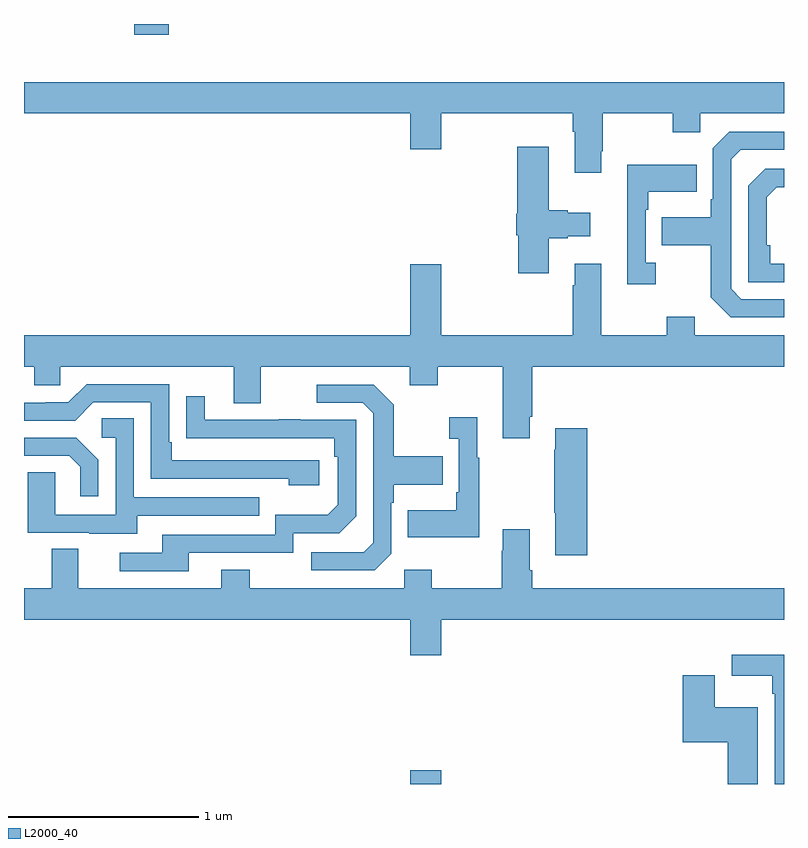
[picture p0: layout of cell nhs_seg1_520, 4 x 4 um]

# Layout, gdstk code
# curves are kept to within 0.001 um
import gdstk
lib = gdstk.Library(unit=1e-6, precision=1e-09)
def R(c, l, rs):  # rectangles x0, y0, x1, y1
    for r in rs: c.add(gdstk.rectangle(r[:2], r[2:], *l))
def P(c, l, *ps):  # polygons
    for p in ps: c.add(gdstk.Polygon(p, *l))
L2000_40 = (2000, 40)

nhs_seg1_520 = lib.new_cell('nhs_seg1_520')
R(nhs_seg1_520, L2000_40, [(141.032,552.199,141.196,552.271), (139.58,556.143,139.763,556.199)])
P(nhs_seg1_520, L2000_40, [(142.039,555.529),(142.047,555.529),(142.047,555.728),(142.414,555.728),(142.414,555.629),(142.56,555.629),(142.56,555.728),(143,555.728),(143,555.892),(139,555.892),(139,555.728),(141.032,555.728),(141.032,555.54),(141.196,555.54),(141.196,555.728),(141.887,555.728),(141.887,555.632),(141.899,555.632),(141.899,555.417),(142.039,555.417)],
  [(143,554.751),(142.776,554.751),(142.722,554.805),(142.722,555.486),(142.773,555.537),(143,555.537),(143,555.633),(142.713,555.633),(142.626,555.546),(142.626,555.277),(142.614,555.277),(142.614,555.181),(142.357,555.181),(142.357,555.034),(142.614,555.034),(142.614,554.761),(142.719,554.655),(143,554.655)],
  [(141.763,555.071),(141.863,555.071),(141.863,555.083),(141.979,555.083),(141.979,555.205),(141.863,555.205),(141.863,555.218),(141.763,555.218),(141.763,555.553),(141.596,555.553),(141.596,555.201),(141.59,555.201),(141.59,555.087),(141.601,555.087),(141.601,554.886),(141.763,554.886)],
  [(142.324,554.942),(142.272,554.942),(142.272,555.221),(142.285,555.221),(142.285,555.317),(142.541,555.317),(142.541,555.457),(142.175,555.457),(142.175,554.829),(142.324,554.829)],
  [(143,554.937),(142.928,554.937),(142.928,555.034),(142.908,555.034),(142.908,555.288),(142.961,555.341),(143,555.341),(143,555.438),(142.902,555.438),(142.812,555.348),(142.812,554.841),(143,554.841)],
  [(141.661,554.131),(141.674,554.131),(141.674,554.396),(143,554.396),(143,554.56),(142.531,554.56),(142.531,554.659),(142.384,554.659),(142.384,554.56),(142.039,554.56),(142.039,554.938),(141.899,554.938),(141.899,554.825),(141.887,554.825),(141.887,554.56),(141.196,554.56),(141.196,554.935),(141.032,554.935),(141.032,554.56),(139,554.56),(139,554.396),(139.053,554.396),(139.053,554.298),(139.191,554.298),(139.191,554.396),(140.105,554.396),(140.105,554.202),(140.245,554.202),(140.245,554.396),(141.029,554.396),(141.029,554.297),(141.177,554.297),(141.177,554.396),(141.521,554.396),(141.521,554.019),(141.661,554.019)],
  [(140.554,553.902),(139.777,553.902),(139.777,553.999),(139.764,553.999),(139.764,554.304),(139.329,554.304),(139.233,554.208),(139.115,554.208),(139.115,554.205),(139,554.205),(139,554.112),(139.269,554.112),(139.365,554.208),(139.668,554.208),(139.668,553.806),(140.393,553.806),(140.393,553.772),(140.554,553.772)],
  [(140.934,553.41),(140.934,553.679),(140.947,553.679),(140.947,553.775),(141.203,553.775),(141.203,553.923),(140.947,553.923),(140.947,554.195),(140.841,554.301),(140.541,554.301),(140.541,554.205),(140.784,554.205),(140.838,554.151),(140.838,553.47),(140.787,553.419),(140.511,553.419),(140.511,553.323),(140.847,553.323)],
  [(139.867,553.416),(140.418,553.416),(140.418,553.518),(140.658,553.518),(140.748,553.608),(140.748,554.115),(140.453,554.115),(140.453,554.12),(140.341,554.12),(140.341,554.115),(139.951,554.115),(139.951,554.239),(139.855,554.239),(139.855,554.02),(140.632,554.019),(140.632,553.922),(140.652,553.922),(140.652,553.668),(140.599,553.615),(140.322,553.615),(140.322,553.512),(139.727,553.512),(139.727,553.416),(139.503,553.416),(139.503,553.32),(139.867,553.32)],
  [(141.397,553.915),(141.385,553.915),(141.385,554.128),(141.237,554.128),(141.237,554.015),(141.288,554.015),(141.288,553.735),(141.276,553.735),(141.276,553.639),(141.019,553.639),(141.019,553.499),(141.397,553.499)],
  [(139.597,553.611),(140.237,553.611),(140.237,553.707),(139.578,553.707),(139.578,554.123),(139.41,554.123),(139.41,554.022),(139.482,554.022),(139.482,553.617),(139.164,553.617),(139.164,553.841),(139.019,553.841),(139.019,553.521),(139.343,553.521),(139.343,553.517),(139.597,553.517)],
  [(141.965,554.071),(141.797,554.071),(141.797,553.958),(141.79,553.958),(141.79,553.627),(141.797,553.627),(141.797,553.404),(141.965,553.404)],
  [(139.392,553.906),(139.276,554.022),(139,554.022),(139,553.926),(139.238,553.926),(139.295,553.869),(139.295,553.713),(139.392,553.713)],
  [(141.196,553.064),(143,553.064),(143,553.228),(141.674,553.228),(141.674,553.324),(141.661,553.324),(141.661,553.54),(141.521,553.54),(141.521,553.427),(141.514,553.427),(141.514,553.228),(141.147,553.228),(141.147,553.327),(141,553.327),(141,553.228),(140.187,553.228),(140.187,553.327),(140.039,553.327),(140.039,553.228),(139.285,553.228),(139.285,553.436),(139.145,553.436),(139.145,553.228),(139,553.228),(139,553.064),(141.032,553.064),(141.032,552.876),(141.196,552.876)],
  [(143,552.878),(142.725,552.878),(142.725,552.77),(142.938,552.77),(142.938,552.674),(142.95,552.674),(142.95,552.199),(143,552.199)],
  [(142.861,552.604),(142.636,552.604),(142.636,552.772),(142.466,552.772),(142.466,552.419),(142.703,552.419),(142.703,552.199),(142.861,552.199)])

lib.write_gds('nhs_seg1_520.gds')
